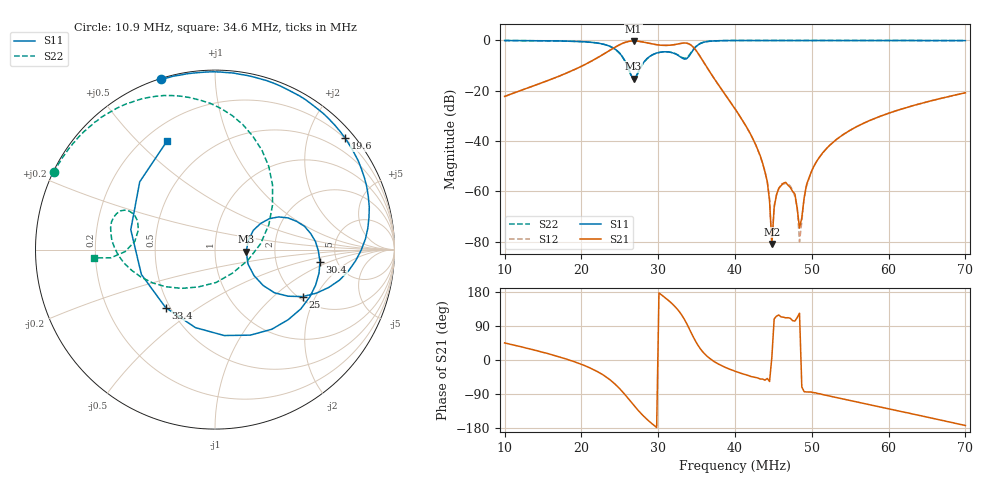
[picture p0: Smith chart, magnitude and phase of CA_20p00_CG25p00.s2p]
#  HZ  S  RI  R  50.00
! Rohde & Schwarz ZVT8 8Ports - Version 4.11 - 1300.0000k08 SN: 100242
! Date: 2026-07-31 14:25:45
! Measurements: S11 S21 S12 S22
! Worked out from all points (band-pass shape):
!   201 points, 10 MHz to 70 MHz, reference 50 ohm
!   highest |S21| = -0.20 dB at 26.8 MHz (marker M1); lowest = -80.9 dB at 44.8 MHz (marker M2)
!   |S21| within 3 dB of the highest: 24.1 MHz to 34.72 MHz (10.62 MHz wide, 36.1 % of centre)
!   lowest |S11| = -15.2 dB at 26.8 MHz (marker M3), VSWR 1.42, Z = 71.1 - j1.68 ohm
!   |S11| at or under -10 dB: 25.97 MHz to 27.83 MHz (1.863 MHz wide, 6.93 % of centre)
!   |S22| runs from -15.7 to 0.0 dB; largest |S21 - S12| = 0.0033
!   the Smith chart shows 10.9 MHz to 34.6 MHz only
!   S11 on the Smith chart (normalised r, x): 10.9 MHz: 0.00, +0.73; 19.6 MHz: 0.19, +2.70; 25 MHz: 2.10, -1.59; 30.4 MHz: 3.69, -0.78; 33.4 MHz: 0.47, -0.37; 34.6 MHz: 0.29, +0.61
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1e7  -0.4014 0.9118  0.0545 0.0547  0.0543 0.0546  -0.9161 0.3915
1.09e7  -0.3003 0.9478  0.0657 0.0565  0.0654 0.0565  -0.8994 0.4298
1.96e7  0.7257 0.6204  0.2829 -0.042  0.283 -0.0413  -0.5245 0.7985
2.02e7  0.7743 0.5399  0.3092 -0.0715  0.3084 -0.071  -0.468 0.8202
2.5e7  0.4886 -0.2617  0.1986 -0.8006  0.197 -0.8014  0.2997 0.4632
2.68e7  0.1743 -0.0114  -0.474 -0.855  -0.474 -0.8555  0.097 -0.1313
3.01e7  0.5762 -0.00858  -0.8107 0.041  -0.8093 0.0392  -0.5747 0.0514
3.04e7  0.5848 -0.0688  -0.7955 0.1052  -0.7975 0.1061  -0.5797 0.0894
3.34e7  -0.2749 -0.3233  -0.2686 0.849  -0.2687 0.8476  -0.4274 0.1078
3.46e7  -0.268 0.6039  0.3676 0.6284  0.3655 0.6275  -0.6745 -0.0462
3.67e7  0.8559 0.4445  0.2397 0.0182  0.2393 0.018  -0.9087 0.3306
4e7  0.9302 -0.3547  0.038 -0.0216  0.038 -0.0216  -0.7721 0.6315
4.39e7  0.5648 -0.8236  0.00146 -0.00195  0.00158 -0.00197  -0.6071 0.7914
4.45e7  0.4952 -0.8653  0.000357 -0.000544  0.000355 -0.000626  -0.5833 0.8094
4.48e7  0.4606 -0.885  8.94e-05 1.23e-05  7.87e-05 -2.05e-05  -0.5715 0.8176
4.54e7  0.3896 -0.9184  -0.000371 0.00077  -0.00035 0.000759  -0.5475 0.8345
4.66e7  0.2432 -0.9686  -0.000547 0.00141  -0.00051 0.00135  -0.4995 0.8639
4.78e7  0.097 -0.9931  -0.000196 0.000867  -0.000223 0.000754  -0.4522 0.8879
4.84e7  0.0234 -0.998  -0.000103 0.000155  -5.22e-05 8.42e-05  -0.4299 0.9
5.02e7  -0.1921 -0.9797  0.00021 -0.003  0.000253 -0.00301  -0.3605 0.93
6.01e7  -0.9683 -0.2308  -0.0228 -0.028  -0.0227 -0.0279  0.0255 0.9961
7e7  -0.6201 0.7751  -0.0905 -0.0113  -0.0903 -0.0112  0.4086 0.9056
